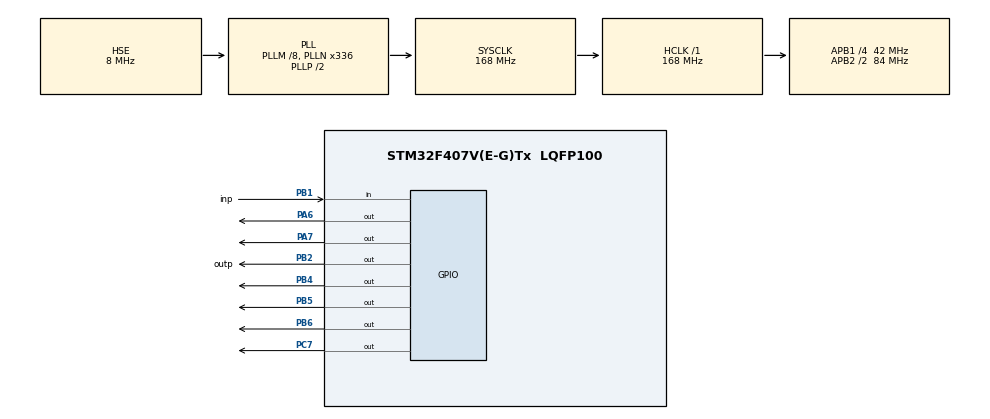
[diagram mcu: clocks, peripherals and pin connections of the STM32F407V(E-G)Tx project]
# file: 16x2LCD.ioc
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Mcu.Family=STM32F4
Mcu.Name=STM32F407V(E-G)Tx
Mcu.Package=LQFP100
NVIC.PriorityGroup=NVIC_PRIORITYGROUP_0
PA6.Signal=GPIO_Output
PA7.Signal=GPIO_Output
PB1.GPIO_Label=inp
PB1.Signal=GPIO_Input
PB2.GPIO_Label=outp
PB2.Signal=GPIO_Output
PB4.Signal=GPIO_Output
PB5.Signal=GPIO_Output
PB6.Signal=GPIO_Output
PC14-OSC32_IN.Mode=LSE-External-Oscillator
PC14-OSC32_IN.Signal=RCC_OSC32_IN
PC15-OSC32_OUT.Mode=LSE-External-Oscillator
PC15-OSC32_OUT.Signal=RCC_OSC32_OUT
PC7.Signal=GPIO_Output
PH0-OSC_IN.Mode=HSE-External-Oscillator
PH0-OSC_IN.Signal=RCC_OSC_IN
PH1-OSC_OUT.Mode=HSE-External-Oscillator
PH1-OSC_OUT.Signal=RCC_OSC_OUT
ProjectManager.HeapSize=0x200
ProjectManager.StackSize=0x400
ProjectManager.TargetToolchain=STM32CubeIDE
RCC.48MHZClocksFreq_Value=48000000
RCC.AHBFreq_Value=168000000
RCC.APB1CLKDivider=RCC_HCLK_DIV4
RCC.APB1Freq_Value=42000000
RCC.APB1TimFreq_Value=84000000
RCC.APB2CLKDivider=RCC_HCLK_DIV2
RCC.APB2Freq_Value=84000000
RCC.APB2TimFreq_Value=168000000
RCC.CortexFreq_Value=168000000
RCC.HCLKFreq_Value=168000000
RCC.HSE_VALUE=8000000
RCC.HSI_VALUE=16000000
RCC.PLLM=8
RCC.PLLN=336
RCC.PLLQ=7
RCC.PLLSourceVirtual=RCC_PLLSOURCE_HSE
RCC.SYSCLKFreq_VALUE=168000000
RCC.SYSCLKSource=RCC_SYSCLKSOURCE_PLLCLK
RCC.VCOOutputFreq_Value=336000000
board=STM32F407G-DISC1

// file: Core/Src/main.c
/* USER CODE BEGIN Header */
/**
  ******************************************************************************
  * @file           : main.c
  * @brief          : Main program body
  ******************************************************************************
  * @attention
  *
  * Copyright (c) 2024 STMicroelectronics.
  * All rights reserved.
  *
  * This software is licensed under terms that can be found in the LICENSE file
  * in the root directory of this software component.
  * If no LICENSE file comes with this software, it is provided AS-IS.
  *
  ******************************************************************************
  */
/* USER CODE END Header */
#include "main.h"

/* USER CODE BEGIN Includes */
#include "lcd.h"
/* USER CODE BEGIN Includes */
#include "dwt_stm32_delay.h"
/* USER CODE END Includes */

/* USER CODE BEGIN PV */
uint32_t time=0;
uint32_t localTime=0;
int distance=0;
/* USER CODE END PV */

void SystemClock_Config(void);
static void MX_GPIO_Init(void);

int main(void)
{

  /* MCU Configuration--------------------------------------------------------*/

  /* Reset of all peripherals, Initializes the Flash interface and the Systick. */
  HAL_Init();

  /* USER CODE BEGIN Init */
 DWT_Delay_Init();
  /* USER CODE END Init */

  /* Configure the system clock */
  SystemClock_Config();

  /* Initialize all configured peripherals */
  MX_GPIO_Init();

  /* USER CODE BEGIN 2 */
  // Lcd_PortType ports[] = { D4_GPIO_Port, D5_GPIO_Port, D6_GPIO_Port, D7_GPIO_Port };
   Lcd_PortType ports[] = { GPIOC, GPIOB, GPIOA, GPIOA };
   // Lcd_PinType pins[] = {D4_Pin, D5_Pin, D6_Pin, D7_Pin};
   Lcd_PinType pins[] = {GPIO_PIN_7, GPIO_PIN_6, GPIO_PIN_7, GPIO_PIN_6};
   Lcd_HandleTypeDef lcd;
   // Lcd_create(ports, pins, RS_GPIO_Port, RS_Pin, EN_GPIO_Port, EN_Pin, LCD_4_BIT_MODE);
   lcd = Lcd_create(ports, pins, GPIOB, GPIO_PIN_5, GPIOB, GPIO_PIN_4, LCD_4_BIT_MODE);
   Lcd_cursor(&lcd, 0,1);
   Lcd_string(&lcd, "Alper Bozkurt");
   HAL_Delay(1000);
    Lcd_clear(&lcd);
  /* USER CODE END 2 */

  /* Infinite loop */
  /* USER CODE BEGIN WHILE */
  while (1)
  {
	  uint32_t Read_HCSR04(void){
	  		  uint32_t localTime=0;

	  	  	  HAL_GPIO_WritePin(outp_GPIO_Port, outp_Pin, 1);
	  	  	  DWT_Delay_us(10);
	  	  	  HAL_GPIO_WritePin(outp_GPIO_Port, outp_Pin, 0);

	  	  	  while(HAL_GPIO_ReadPin(inp_GPIO_Port,inp_Pin)==0);

	  	  	  while(HAL_GPIO_ReadPin(inp_GPIO_Port,inp_Pin)==1){
	  	  		  localTime++;
	  	  		  DWT_Delay_us(1);
	  	  	  }
	  	  	  return localTime;
	  	  }
	  time= Read_HCSR04();
	  distance=time*0.034/2;

	  Lcd_cursor(&lcd, 0,5);
	  Lcd_string(&lcd, "MESAFE:  ");
	 	 	   Lcd_cursor(&lcd, 1,7);
	 	 	  Lcd_int(&lcd, distance);
	 	 	  HAL_Delay(42);
	 	 	 distance=0;
	 	 	 Lcd_clear(&lcd);

    /* USER CODE END WHILE */

  }
}

void SystemClock_Config(void)
{
  RCC_OscInitTypeDef RCC_OscInitStruct = {0};
  RCC_ClkInitTypeDef RCC_ClkInitStruct = {0};

  /** Configure the main internal regulator output voltage
  */
  __HAL_RCC_PWR_CLK_ENABLE();
  __HAL_PWR_VOLTAGESCALING_CONFIG(PWR_REGULATOR_VOLTAGE_SCALE1);

  /** Initializes the RCC Oscillators according to the specified parameters
  * in the RCC_OscInitTypeDef structure.
  */
  RCC_OscInitStruct.OscillatorType = RCC_OSCILLATORTYPE_HSE;
  RCC_OscInitStruct.HSEState = RCC_HSE_ON;
  RCC_OscInitStruct.PLL.PLLState = RCC_PLL_ON;
  RCC_OscInitStruct.PLL.PLLSource = RCC_PLLSOURCE_HSE;
  RCC_OscInitStruct.PLL.PLLM = 8;
  RCC_OscInitStruct.PLL.PLLN = 336;
  RCC_OscInitStruct.PLL.PLLP = RCC_PLLP_DIV2;
  RCC_OscInitStruct.PLL.PLLQ = 7;
  if (HAL_RCC_OscConfig(&RCC_OscInitStruct) != HAL_OK)
  {
    Error_Handler();
  }

  /** Initializes the CPU, AHB and APB buses clocks
  */
  RCC_ClkInitStruct.ClockType = RCC_CLOCKTYPE_HCLK|RCC_CLOCKTYPE_SYSCLK
                              |RCC_CLOCKTYPE_PCLK1|RCC_CLOCKTYPE_PCLK2;
  RCC_ClkInitStruct.SYSCLKSource = RCC_SYSCLKSOURCE_PLLCLK;
  RCC_ClkInitStruct.AHBCLKDivider = RCC_SYSCLK_DIV1;
  RCC_ClkInitStruct.APB1CLKDivider = RCC_HCLK_DIV4;
  RCC_ClkInitStruct.APB2CLKDivider = RCC_HCLK_DIV2;

  if (HAL_RCC_ClockConfig(&RCC_ClkInitStruct, FLASH_LATENCY_5) != HAL_OK)
  {
    Error_Handler();
  }
}

static void MX_GPIO_Init(void)
{
  GPIO_InitTypeDef GPIO_InitStruct = {0};

  /* GPIO Ports Clock Enable */
  __HAL_RCC_GPIOC_CLK_ENABLE();
  __HAL_RCC_GPIOH_CLK_ENABLE();
  __HAL_RCC_GPIOA_CLK_ENABLE();
  __HAL_RCC_GPIOB_CLK_ENABLE();

  /*Configure GPIO pin Output Level */
  HAL_GPIO_WritePin(GPIOA, GPIO_PIN_6|GPIO_PIN_7, GPIO_PIN_RESET);

  /*Configure GPIO pin Output Level */
  HAL_GPIO_WritePin(GPIOB, outp_Pin|GPIO_PIN_4|GPIO_PIN_5|GPIO_PIN_6, GPIO_PIN_RESET);

  /*Configure GPIO pin Output Level */
  HAL_GPIO_WritePin(GPIOC, GPIO_PIN_7, GPIO_PIN_RESET);

  /*Configure GPIO pins : PA6 PA7 */
  GPIO_InitStruct.Pin = GPIO_PIN_6|GPIO_PIN_7;
  GPIO_InitStruct.Mode = GPIO_MODE_OUTPUT_PP;
  GPIO_InitStruct.Pull = GPIO_NOPULL;
  GPIO_InitStruct.Speed = GPIO_SPEED_FREQ_LOW;
  HAL_GPIO_Init(GPIOA, &GPIO_InitStruct);

  /*Configure GPIO pin : inp_Pin */
  GPIO_InitStruct.Pin = inp_Pin;
  GPIO_InitStruct.Mode = GPIO_MODE_INPUT;
  GPIO_InitStruct.Pull = GPIO_NOPULL;
  HAL_GPIO_Init(inp_GPIO_Port, &GPIO_InitStruct);

  /*Configure GPIO pins : outp_Pin PB4 PB5 PB6 */
  GPIO_InitStruct.Pin = outp_Pin|GPIO_PIN_4|GPIO_PIN_5|GPIO_PIN_6;
  GPIO_InitStruct.Mode = GPIO_MODE_OUTPUT_PP;
  GPIO_InitStruct.Pull = GPIO_NOPULL;
  GPIO_InitStruct.Speed = GPIO_SPEED_FREQ_LOW;
  HAL_GPIO_Init(GPIOB, &GPIO_InitStruct);

  /*Configure GPIO pin : PC7 */
  GPIO_InitStruct.Pin = GPIO_PIN_7;
  GPIO_InitStruct.Mode = GPIO_MODE_OUTPUT_PP;
  GPIO_InitStruct.Pull = GPIO_NOPULL;
  GPIO_InitStruct.Speed = GPIO_SPEED_FREQ_LOW;
  HAL_GPIO_Init(GPIOC, &GPIO_InitStruct);

}

void Error_Handler(void)
{
  __disable_irq();
  while (1)
  {
  }
}
